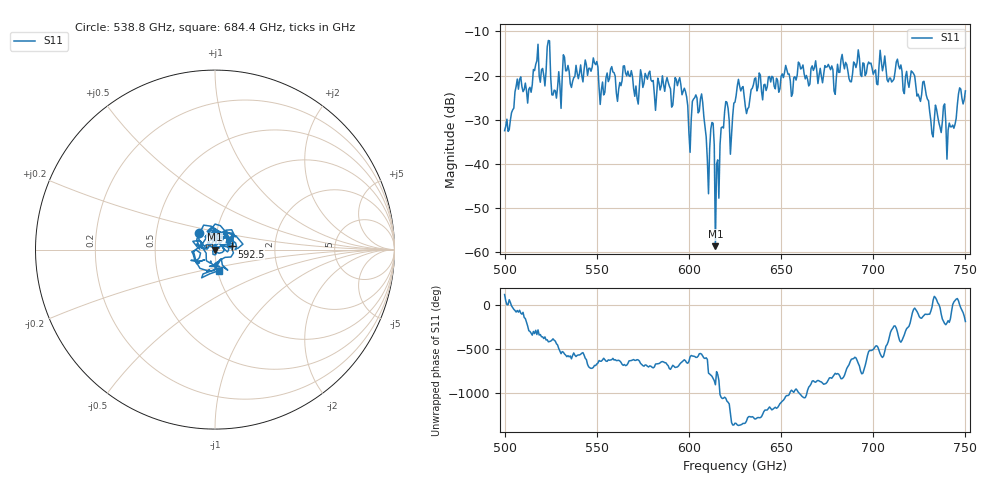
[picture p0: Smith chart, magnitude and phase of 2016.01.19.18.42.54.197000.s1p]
!Created with skrf (http://scikit-rf.org).
# GHz S RI R 50.0
!freq ReS11 ImS11
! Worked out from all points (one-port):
!   401 points, 500 GHz to 750 GHz, reference 50 ohm
!   lowest |S11| = -58.7 dB at 614.4 GHz (marker M1), VSWR 1.00, Z = 49.9 + j0.00942 ohm
!   |S11| at or under -10 dB: start of sweep to end of sweep
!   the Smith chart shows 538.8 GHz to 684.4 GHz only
!   S11 on the Smith chart (normalised r, x): 538.8 GHz: 0.82, +0.16; 592.5 GHz: 1.20, +0.04; 684.4 GHz: 1.02, -0.24
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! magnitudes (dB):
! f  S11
! 500 GHz  -32.5
! 516.9 GHz  -17.5
! 520.6 GHz  -18.4
! 523.8 GHz  -12.0
! 526.9 GHz  -23.3
! 531.2 GHz  -20.4
! 538.8 GHz  -17.7
! 549.4 GHz  -17.5
! 552.5 GHz  -23.2
! 562.5 GHz  -21.6
! 592.5 GHz  -20.5
! 593.8 GHz  -22.3
! 600 GHz  -33.0
! 606.9 GHz  -24.2
! 610 GHz  -39.1
! 612.5 GHz  -30.6
! 614.4 GHz  -58.7
! 615.6 GHz  -39.1
! 618.8 GHz  -31.9
! 623.1 GHz  -33.3
! 625 GHz  -26.0
! 656.2 GHz  -24.0
! 684.4 GHz  -18.5
! 687.5 GHz  -21.4
! 705 GHz  -18.9
! 718.8 GHz  -21.4
! 741.2 GHz  -30.8
! 750 GHz  -23.5
